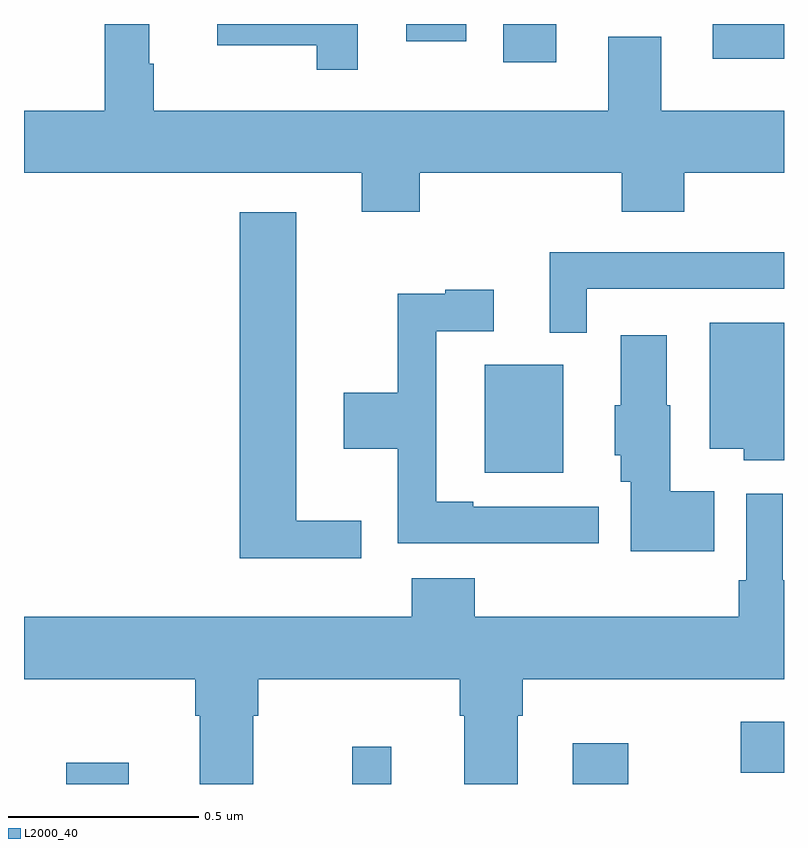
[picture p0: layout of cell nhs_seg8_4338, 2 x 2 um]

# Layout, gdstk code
import gdstk
lib = gdstk.Library(unit=1e-6, precision=1e-09)
def R(c, l, rs):  # rectangles x0, y0, x1, y1
    for r in rs: c.add(gdstk.rectangle(r[:2], r[2:], *l))
def P(c, l, *ps):  # polygons
    for p in ps: c.add(gdstk.Polygon(p, *l))
L2000_40 = (2000, 40)

nhs_seg8_4338 = lib.new_cell('nhs_seg8_4338')
R(nhs_seg8_4338, L2000_40, [(169.111,1106.9,169.276,1106.956), (169.864,1106.9,169.967,1106.998), (170.444,1106.9,170.59,1107.007), (170.886,1106.93,171,1107.064), (170.213,1107.719,170.419,1108.003), (170.261,1108.8,170.401,1108.9), (170.813,1108.808,171,1108.9), (170.006,1108.854,170.164,1108.9)])
P(nhs_seg8_4338, L2000_40, [(170.042,1108.508),(170.573,1108.508),(170.573,1108.406),(170.738,1108.406),(170.738,1108.508),(171,1108.508),(171,1108.672),(170.677,1108.672),(170.677,1108.867),(170.537,1108.867),(170.537,1108.672),(169.342,1108.672),(169.342,1108.796),(169.33,1108.796),(169.33,1108.9),(169.213,1108.9),(169.213,1108.672),(169,1108.672),(169,1108.508),(169.889,1108.508),(169.889,1108.406),(170.042,1108.406)],
  [(169.878,1108.9),(169.508,1108.9),(169.508,1108.844),(169.77,1108.844),(169.77,1108.779),(169.878,1108.779)],
  [(169.888,1107.593),(169.717,1107.593),(169.717,1108.405),(169.568,1108.405),(169.568,1107.494),(169.888,1107.494)],
  [(170.481,1108.203),(171,1108.203),(171,1108.299),(170.384,1108.299),(170.384,1108.088),(170.481,1108.088)],
  [(170.512,1107.63),(170.182,1107.63),(170.182,1107.643),(170.085,1107.643),(170.085,1108.092),(170.236,1108.092),(170.236,1108.201),(170.108,1108.201),(170.108,1108.19),(169.984,1108.19),(169.984,1107.93),(169.842,1107.93),(169.842,1107.782),(169.984,1107.782),(169.984,1107.534),(170.269,1107.534),(170.269,1107.533),(170.512,1107.533)],
  [(171,1108.114),(170.804,1108.114),(170.804,1107.782),(170.894,1107.782),(170.894,1107.752),(171,1107.752)],
  [(170.816,1107.67),(170.701,1107.67),(170.701,1107.897),(170.692,1107.897),(170.692,1108.081),(170.57,1108.081),(170.57,1107.897),(170.555,1107.897),(170.555,1107.765),(170.57,1107.765),(170.57,1107.696),(170.597,1107.696),(170.597,1107.512),(170.816,1107.512)],
  [(169.603,1107.08),(169.616,1107.08),(169.616,1107.176),(170.147,1107.176),(170.147,1107.08),(170.159,1107.08),(170.159,1106.9),(170.299,1106.9),(170.299,1107.08),(170.312,1107.08),(170.312,1107.176),(171,1107.176),(171,1107.436),(170.997,1107.436),(170.997,1107.664),(170.901,1107.664),(170.901,1107.436),(170.881,1107.436),(170.881,1107.34),(170.186,1107.34),(170.186,1107.442),(170.021,1107.442),(170.021,1107.34),(169,1107.34),(169,1107.176),(169.451,1107.176),(169.451,1107.08),(169.463,1107.08),(169.463,1106.9),(169.603,1106.9)])

lib.write_gds('nhs_seg8_4338.gds')
